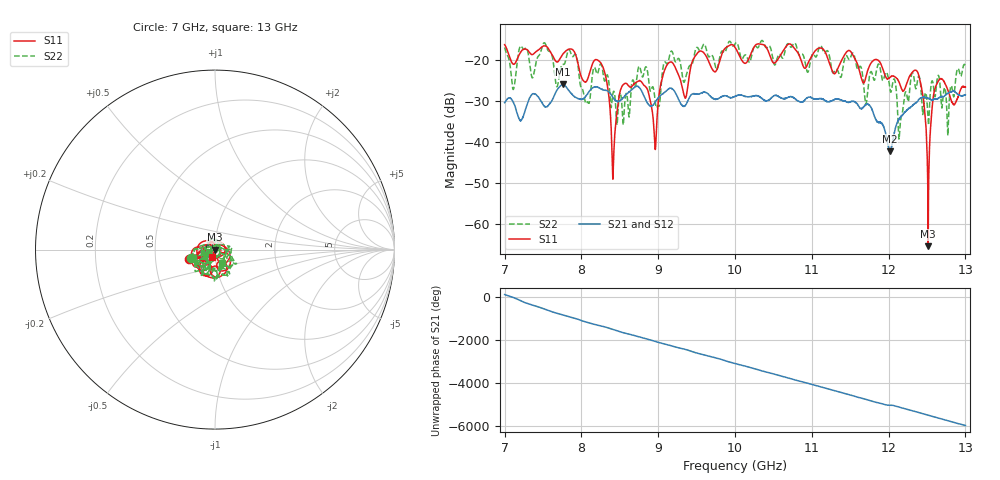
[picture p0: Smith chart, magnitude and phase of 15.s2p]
[Version] 2.0
! Rohde & Schwarz Vector Network Analyzer
! Rohde-Schwarz,ZNL20-2Port,1323001220200009,1.71.1.10-23.02.1.238
! Port Assignments:
! Nominal Port -> Actual Test Port
!  1 -> 1
!  2 -> 2
! Created: GMT+3 2024-09-24 16:06:40
# Hz S DB R 50
[Number of Ports] 2
[Two-Port Data Order] 21_12
! freq[Hz]  S11[mag dB]  S11[ang]  S21[mag dB]  S21[ang]  S12[mag dB]  S12[ang]  S22[mag dB]  S22[ang]
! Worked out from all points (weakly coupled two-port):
!   6001 points, 7 GHz to 13 GHz, reference 50 ohm
!   highest |S21| = -25.92 dB at 7.756 GHz (marker M1); lowest = -42.2 dB at 12.02 GHz (marker M2)
!   lowest |S11| = -65.4 dB at 12.52 GHz (marker M3), VSWR 1.00, Z = 50 - j0.0449 ohm
!   |S11| at or under -10 dB: start of sweep to end of sweep
!   |S22| runs from -39.2 to -15.2 dB; largest |S21 - S12| = 0.0008
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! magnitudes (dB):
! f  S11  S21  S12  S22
! 7 GHz  -16.2  -30.4  -30.3  -16.9
! 7.115 GHz  -21.0  -30.3  -30.4  -27.1
! 7.216 GHz  -17.8  -34.6  -34.6  -16.6
! 7.756 GHz  -18.6  -25.9  -25.9  -21.0
! 8 GHz  -24.1  -29.6  -29.6  -26.7
! 8.273 GHz  -21.3  -27.1  -27.1  -22.1
! 8.415 GHz  -46.5  -29.2  -29.2  -27.8
! 8.55 GHz  -25.9  -29.1  -29.1  -34.8
! 8.755 GHz  -25.0  -26.7  -26.7  -21.5
! 9 GHz  -30.3  -29.2  -29.2  -31.2
! 9.169 GHz  -20.4  -26.9  -26.9  -17.8
! 9.351 GHz  -29.2  -31.1  -31.1  -24.7
! 10 GHz  -16.8  -28.8  -28.8  -16.0
! 11 GHz  -18.9  -29.2  -29.2  -18.9
! 12 GHz  -24.4  -41.3  -41.4  -24.8
! 12.02 GHz  -24.2  -42.2  -42.0  -27.0
! 12.15 GHz  -26.0  -34.0  -34.0  -36.1
! 12.38 GHz  -22.9  -30.1  -30.1  -24.8
! 12.52 GHz  -65.4  -29.3  -29.3  -35.4
! 12.63 GHz  -25.5  -29.4  -29.5  -24.3
! 12.77 GHz  -27.3  -28.1  -28.1  -38.3
! 13 GHz  -26.6  -28.4  -28.4  -21.6
